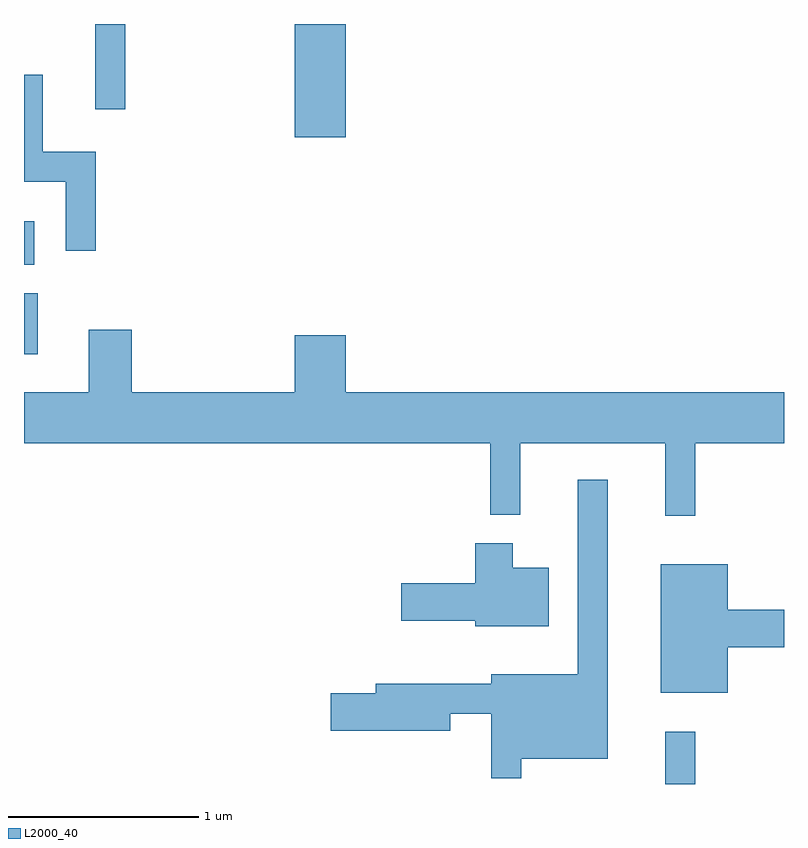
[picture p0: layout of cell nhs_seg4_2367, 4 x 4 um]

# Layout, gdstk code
import gdstk
lib = gdstk.Library(unit=1e-6, precision=1e-09)
def R(c, l, rs):  # rectangles x0, y0, x1, y1
    for r in rs: c.add(gdstk.rectangle(r[:2], r[2:], *l))
def P(c, l, *ps):  # polygons
    for p in ps: c.add(gdstk.Polygon(p, *l))
L2000_40 = (2000, 40)

nhs_seg4_2367 = lib.new_cell('nhs_seg4_2367')
R(nhs_seg4_2367, L2000_40, [(256.986,1363.982,257.144,1364.258), (253.611,1366.243,253.684,1366.564), (253.611,1366.716,253.664,1366.944), (255.036,1367.386,255.304,1367.982), (253.986,1367.533,254.144,1367.982)])
P(nhs_seg4_2367, L2000_40, [(253.989,1367.309),(253.709,1367.309),(253.709,1367.714),(253.611,1367.714),(253.611,1367.151),(253.831,1367.151),(253.831,1366.788),(253.989,1366.788)],
  [(257.144,1365.776),(257.611,1365.776),(257.611,1366.044),(255.304,1366.044),(255.304,1366.344),(255.036,1366.344),(255.036,1366.044),(254.179,1366.044),(254.179,1366.374),(253.951,1366.374),(253.951,1366.044),(253.611,1366.044),(253.611,1365.776),(256.066,1365.776),(256.066,1365.398),(256.224,1365.398),(256.224,1365.776),(256.986,1365.776),(256.986,1365.393),(257.144,1365.393)],
  [(256.229,1364.116),(256.684,1364.116),(256.684,1365.583),(256.526,1365.583),(256.526,1364.559),(256.071,1364.559),(256.071,1364.509),(255.461,1364.509),(255.461,1364.459),(255.226,1364.459),(255.226,1364.261),(255.854,1364.261),(255.854,1364.351),(256.071,1364.351),(256.071,1364.013),(256.229,1364.013)],
  [(256.374,1365.119),(256.184,1365.119),(256.184,1365.249),(255.986,1365.249),(255.986,1365.039),(255.596,1365.039),(255.596,1364.841),(255.986,1364.841),(255.986,1364.811),(256.374,1364.811)],
  [(257.314,1364.701),(257.611,1364.701),(257.611,1364.899),(257.314,1364.899),(257.314,1365.139),(256.961,1365.139),(256.961,1364.461),(257.314,1364.461)])

lib.write_gds('nhs_seg4_2367.gds')
